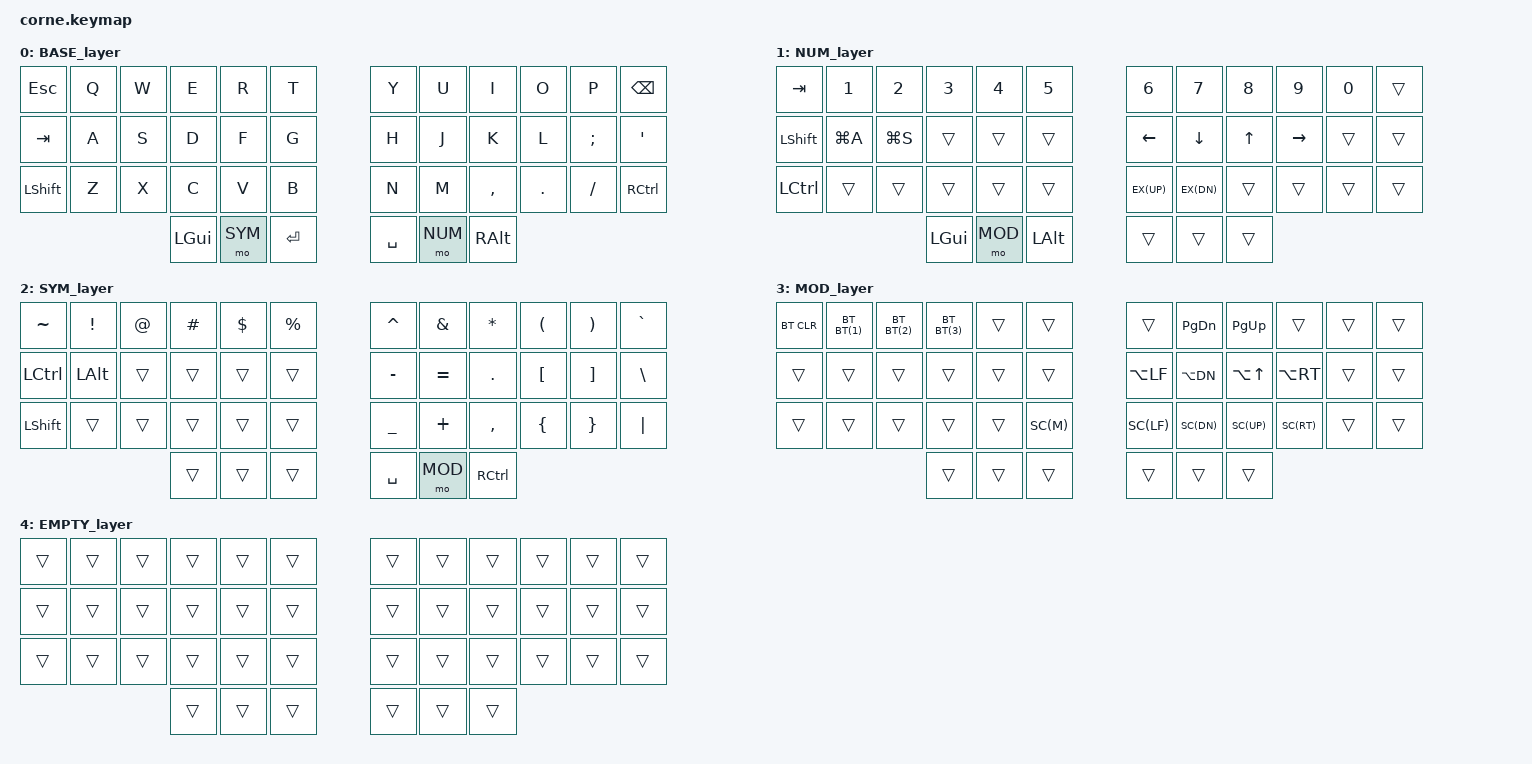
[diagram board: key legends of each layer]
/*
 * Copyright (c) 2020 The ZMK Contributors
 *
 * SPDX-License-Identifier: MIT
 */

#include <behaviors.dtsi>
#include <dt-bindings/zmk/keys.h>
#include <dt-bindings/zmk/bt.h>

#define BASE 0
#define NUM  1
#define SYM  2
#define MOD  3

#define ________ &trans
#define BT(n) BT_SEL n

#define SC(n) LG(LC(LA(n)))
#define EX(n) LC(n)
#define DN DOWN
#define LF LEFT
#define RT RIGHT

/ {
        keymap {
                compatible = "zmk,keymap";

                BASE_layer {

			bindings = <

		//╭──────────┬──────────┬──────────┬──────────┬──────────┬──────────╮   ╭──────────┬──────────┬──────────┬──────────┬──────────┬──────────╮
		//│   ESC    │    Q     │    W     │    E     │    R     │    T     │   │    Y     │    U     │    I     │    O     │    P     │  BKSPC   │
	             &kp ESC    &kp Q      &kp W      &kp E      &kp R      &kp T          &kp Y      &kp U      &kp I      &kp O      &kp P     &kp BSPC
		//├──────────┼──────────┼──────────┼──────────┼──────────┼──────────┤   ├──────────┼──────────┼──────────┼──────────┼──────────┼──────────┤
		//│   TAB    │    A     │    S     │    D     │    F     │    G     │   │    H     │    J     │    K     │    L     │   : ;    │   ' "    │
		     &kp TAB    &kp A      &kp S      &kp D      &kp F      &kp G          &kp H      &kp J      &kp K      &kp L     &kp SEMI   &kp  SQT
		//├──────────┼──────────┼──────────┼──────────┼──────────┼──────────┤   ├──────────┼──────────┼──────────┼──────────┼──────────┼──────────┤
		//│  SHIFT   │    Z     │    X     │    C     │    V     │    B     │   │    N     │    M     │    ,     │    .     │   / ?    │  RCTRL   │
		   &kp LSHIFT   &kp Z      &kp X      &kp C      &kp V      &kp B          &kp N      &kp M     &kp COMMA  &kp DOT    &kp FSLH   &kp RCTRL
		//╰──────────┴──────────┴──────────┼──────────┼──────────┼──────────┤   ├──────────┼──────────┼──────────┼──────────┴──────────┴──────────╯
		//                                 |    ⌘     |  SYMBOLS |  ENTER   |   |  SPACE   | NUMBERS  |    ⌥     |
			                             &kp LGUI   &mo SYM    &kp ENTER      &kp SPACE  &mo NUM    &kp RALT
		//                                 ╰──────────┴──────────┴──────────╯   ╰──────────┴──────────┴──────────╯

			>;

                };

                NUM_layer {

			bindings = <

		//╭──────────┬──────────┬──────────┬──────────┬──────────┬──────────╮   ╭──────────┬──────────┬──────────┬──────────┬──────────┬──────────╮
		//│   TAB    │    1     │    2     │    3     │    4     │    5     │   │    6     │    7     │    8     │    9     │    0     │          │
	             &kp TAB    &kp 1      &kp 2      &kp 3      &kp 4      &kp 5          &kp 6      &kp 7      &kp 8      &kp 9      &kp 0     ________
		//├──────────┼──────────┼──────────┼──────────┼──────────┼──────────┤   ├──────────┼──────────┼──────────┼──────────┼──────────┼──────────┤
		//│  SHIFT   │SELECT ALL│ SAVE FILE│          │          │          │   │    ←     │    ↓     │    ↑     │    →     │          │          │
		   &kp LSHIFT  &kp LG(A)  &kp LG(S)  ________   ________   ________       &kp LEFT   &kp DOWN    &kp UP   &kp RIGHT   ________   ________
		//├──────────┼──────────┼──────────┼──────────┼──────────┼──────────┤   ├──────────┼──────────┼──────────┼──────────┼──────────┼──────────┤
		//│   CTRL   │          │          │          │          │          │   │ EXPOSÉ ↑ │ EXPOSÉ ↓ │          │          │          │          │
		   &kp LCTRL   ________   ________   ________   ________   ________      &kp EX(UP) &kp EX(DN)  ________  ________   ________   ________
		//╰──────────┴──────────┴──────────┼──────────┼──────────┼──────────┤   ├──────────┼──────────┼──────────┼──────────┴──────────┴──────────╯
		//                                 |    ⌘     |  MOD LYR |   ALT    |   |          |THUMB HOLD|          |
			                             &kp LGUI    &mo MOD   &kp LALT       ________   ________   ________
		//                                 ╰──────────┴──────────┴──────────╯   ╰──────────┴──────────┴──────────╯

			>;

                };

                SYM_layer {

			bindings = <

		//╭──────────┬──────────┬──────────┬──────────┬──────────┬──────────╮   ╭──────────┬──────────┬──────────┬──────────┬──────────┬──────────╮
		//│    ~     │    !     │    @     │    #     │    $     │    %     │   │    ^     │    &     │    *     │    (     │    )     │    `     │
	           &kp TILDE   &kp EXCL    &kp AT    &kp HASH   &kp DLLR   &kp PRCNT      &kp CARET  &kp AMPS  &kp ASTRK   &kp LPAR   &kp RPAR   &kp GRAVE
		//├──────────┼──────────┼──────────┼──────────┼──────────┼──────────┤   ├──────────┼──────────┼──────────┼──────────┼──────────┼──────────┤
		//│   CTRL   │   ALT    │          │          │          │          │   │    -     │    =     │    .     │    [     │    ]     │    \     │
		    &kp LCTRL  &kp LALT   ________   ________   ________   ________       &kp MINUS  &kp EQUAL   &kp DOT   &kp LBKT   &kp RBKT   &kp BSLH
		//├──────────┼──────────┼──────────┼──────────┼──────────┼──────────┤   ├──────────┼──────────┼──────────┼──────────┼──────────┼──────────┤
		//│  SHIFT   │          │          │          │          │          │   │    _     │    +     │    ,     │    {     │    }     │    |     │
		   &kp LSHIFT  ________   ________   ________   ________   ________       &kp UNDER  &kp PLUS   &kp COMMA  &kp LBRC   &kp RBRC   &kp PIPE
		//╰──────────┴──────────┴──────────┼──────────┼──────────┼──────────┤   ├──────────┼──────────┼──────────┼──────────┴──────────┴──────────╯
		//                                 |          |THUMB HOLD|          |   |  SPACE   | MOD LYR  |   CTRL   |
			                             ________   ________   ________       &kp SPACE   &mo MOD   &kp RCTRL
		//                                 ╰──────────┴──────────┴──────────╯   ╰──────────┴──────────┴──────────╯

			>;

                };


                MOD_layer {

			bindings = <

		//╭──────────┬──────────┬──────────┬──────────┬──────────┬──────────╮   ╭──────────┬──────────┬──────────┬──────────┬──────────┬──────────╮
		//│ CLR PRFL │ PROFILE 1│ PROFILE 2│ PROFILE 3│          │          │   │          │  PAGE ↓  │  PAGE ↑  │          │          │          │
	           &bt BT_CLR  &bt BT(1)  &bt BT(2)  &bt BT(3)  ________   ________       ________  &kp PG_DN  &kp PG_UP   ________   ________   ________
		//├──────────┼──────────┼──────────┼──────────┼──────────┼──────────┤   ├──────────┼──────────┼──────────┼──────────┼──────────┼──────────┤
		//│          │          │          │          │          │          │   │   ALT ←  │   ALT ↓  │   ALT ↑  │   ALT →  │          │          │
		    ________   ________   ________   ________   ________   ________      &kp LA(LF) &kp LA(DN) &kp LA(UP) &kp LA(RT) ________   ________
		//├──────────┼──────────┼──────────┼──────────┼──────────┼──────────┤   ├──────────┼──────────┼──────────┼──────────┼──────────┼──────────┤
		//│          │          │          │          │          │ WINDOW ⤱ │   │ WINDOW ← │ WINDOW ↓ │ WINDOW ↑ │ WINDOW → │          │          │
		    ________   ________   ________   ________   ________   &kp SC(M)     &kp SC(LF) &kp SC(DN) &kp SC(UP) &kp SC(RT)  ________   ________
		//╰──────────┴──────────┴──────────┼──────────┼──────────┼──────────┤   ├──────────┼──────────┼──────────┼──────────┴──────────┴──────────╯
		//                                 |          |THUMB HOLD|          |   |          |THUMB HOLD|          |
			                             ________   ________   ________       ________   ________   ________
		//                                 ╰──────────┴──────────┴──────────╯   ╰──────────┴──────────┴──────────╯

			>;

                };


                EMPTY_layer {

			bindings = <

		//╭──────────┬──────────┬──────────┬──────────┬──────────┬──────────╮   ╭──────────┬──────────┬──────────┬──────────┬──────────┬──────────╮
		//│          │          │          │          │          │          │   │          │          │          │          │          │          │
	            ________   ________   ________   ________   ________   ________       ________   ________   ________   ________   ________   ________
		//├──────────┼──────────┼──────────┼──────────┼──────────┼──────────┤   ├──────────┼──────────┼──────────┼──────────┼──────────┼──────────┤
		//│          │          │          │          │          │          │   │          │          │          │          │          │          │
		    ________   ________   ________   ________   ________   ________       ________   ________   ________   ________   ________   ________
		//├──────────┼──────────┼──────────┼──────────┼──────────┼──────────┤   ├──────────┼──────────┼──────────┼──────────┼──────────┼──────────┤
		//│          │          │          │          │          │          │   │          │          │          │          │          │          │
		    ________   ________   ________   ________   ________   ________       ________   ________   ________   ________   ________   ________
		//╰──────────┴──────────┴──────────┼──────────┼──────────┼──────────┤   ├──────────┼──────────┼──────────┼──────────┴──────────┴──────────╯
		//                                 |          |          |          |   |          |          |          |
			                             ________   ________   ________       ________   ________   ________
		//                                 ╰──────────┴──────────┴──────────╯   ╰──────────┴──────────┴──────────╯

			>;

                };



        };

};

